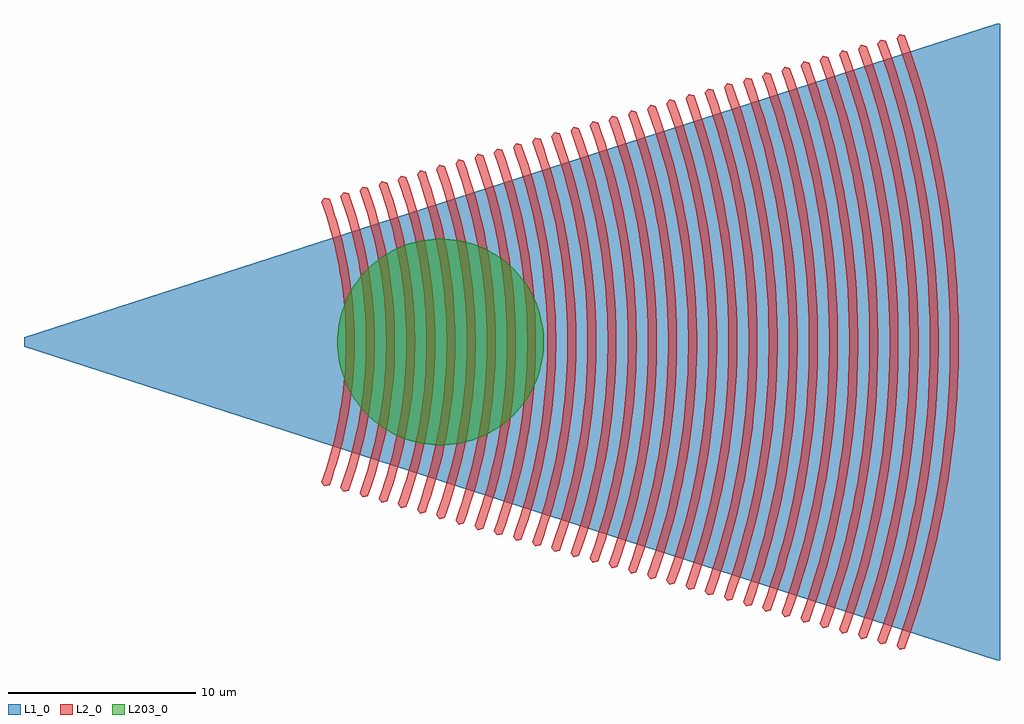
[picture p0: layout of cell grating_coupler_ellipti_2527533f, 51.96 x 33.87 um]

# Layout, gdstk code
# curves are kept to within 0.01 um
import gdstk
lib = gdstk.Library(unit=1e-6, precision=1e-09)
def P(c, l, *ps):  # polygons
    for p in ps: c.add(gdstk.Polygon(p, *l))
L1_0 = (1, 0)
L2_0 = (2, 0)
L203_0 = (203, 0)

circle_layer203_0_radius = lib.new_cell('circle_layer203_0_radius5p5')
P(circle_layer203_0_radius, L203_0, [(5.5,0),(5.495,0.24),(5.453,0.718),(5.37,1.19),(5.245,1.654),(5.081,2.105),(4.879,2.54),(4.639,2.955),(4.505,3.155),(4.213,3.535),(3.889,3.889),(3.535,4.213),(3.155,4.505),(2.955,4.639),(2.54,4.879),(2.105,5.081),(1.654,5.245),(1.19,5.37),(0.718,5.453),(0.24,5.495),(0,5.5),(-0.24,5.495),(-0.718,5.453),(-1.19,5.37),(-1.654,5.245),(-2.105,5.081),(-2.54,4.879),(-2.955,4.639),(-3.155,4.505),(-3.535,4.213),(-3.889,3.889),(-4.213,3.535),(-4.505,3.155),(-4.639,2.955),(-4.879,2.54),(-5.081,2.105),(-5.245,1.654),(-5.37,1.19),(-5.453,0.718),(-5.495,0.24),(-5.5,0),(-5.495,-0.24),(-5.453,-0.718),(-5.37,-1.19),(-5.245,-1.654),(-5.081,-2.105),(-4.879,-2.54),(-4.639,-2.955),(-4.505,-3.155),(-4.213,-3.535),(-3.889,-3.889),(-3.535,-4.213),(-3.155,-4.505),(-2.955,-4.639),(-2.54,-4.879),(-2.105,-5.081),(-1.654,-5.245),(-1.19,-5.37),(-0.718,-5.453),(-0.24,-5.495),(0,-5.5),(0.24,-5.495),(0.718,-5.453),(1.19,-5.37),(1.654,-5.245),(2.105,-5.081),(2.54,-4.879),(2.955,-4.639),(3.155,-4.505),(3.535,-4.213),(3.889,-3.889),(4.213,-3.535),(4.505,-3.155),(4.639,-2.955),(4.879,-2.54),(5.081,-2.105),(5.245,-1.654),(5.37,-1.19),(5.453,-0.718),(5.495,-0.24)])

grating_coupler_ellipti_ = lib.new_cell('grating_coupler_ellipti_2527533f')
P(grating_coupler_ellipti_, L1_0, [(10.5,-0.25),(10.5,0.25),(62.26,16.933),(62.46,16.933),(62.46,-16.933),(62.26,-16.933)])
P(grating_coupler_ellipti_, L2_0, [(26.495,-7.69),(26.325,-7.464),(26.695,-6.349),(27.005,-5.218),(27.254,-4.074),(27.385,-3.304),(27.489,-2.53),(27.566,-1.754),(27.614,-0.975),(27.635,-0.195),(27.628,0.585),(27.593,1.365),(27.531,2.142),(27.441,2.918),(27.254,4.074),(27.005,5.218),(26.695,6.349),(26.325,7.464),(26.495,7.69),(26.77,7.62),(27.028,6.867),(27.259,6.102),(27.463,5.331),(27.64,4.553),(27.852,3.375),(28.001,2.189),(28.086,0.996),(28.107,0.199),(28.086,-0.996),(28.001,-2.189),(27.852,-3.375),(27.64,-4.553),(27.463,-5.331),(27.259,-6.102),(27.028,-6.867),(26.77,-7.62)],
  [(27.517,-7.981),(27.346,-7.754),(27.61,-6.983),(27.952,-5.814),(28.232,-4.63),(28.447,-3.432),(28.555,-2.629),(28.635,-1.822),(28.685,-1.013),(28.707,-0.203),(28.7,0.608),(28.664,1.418),(28.599,2.226),(28.447,3.432),(28.232,4.63),(27.952,5.814),(27.61,6.983),(27.346,7.754),(27.517,7.981),(27.791,7.91),(28.059,7.128),(28.299,6.335),(28.511,5.534),(28.694,4.726),(28.914,3.504),(29.024,2.683),(29.135,1.447),(29.179,0.207),(29.157,-1.034),(29.068,-2.272),(28.914,-3.504),(28.694,-4.726),(28.511,-5.534),(28.299,-6.335),(28.059,-7.128),(27.791,-7.91)],
  [(28.538,-8.271),(28.367,-8.044),(28.641,-7.244),(28.996,-6.032),(29.286,-4.803),(29.51,-3.561),(29.622,-2.727),(29.704,-1.89),(29.757,-1.051),(29.779,-0.21),(29.772,0.631),(29.734,1.471),(29.667,2.309),(29.51,3.561),(29.286,4.803),(28.996,6.032),(28.641,7.244),(28.367,8.044),(28.538,8.271),(28.812,8.201),(29.09,7.389),(29.339,6.567),(29.558,5.736),(29.748,4.899),(29.908,4.056),(30.091,2.782),(30.205,1.5),(30.251,0.214),(30.228,-1.072),(30.136,-2.355),(29.976,-3.632),(29.748,-4.899),(29.558,-5.736),(29.339,-6.567),(29.09,-7.389),(28.812,-8.201)],
  [(29.559,-8.561),(29.388,-8.334),(29.802,-7.089),(30.04,-6.25),(30.34,-4.976),(30.572,-3.689),(30.688,-2.826),(30.773,-1.958),(30.828,-1.089),(30.851,-0.218),(30.843,0.653),(30.804,1.524),(30.735,2.392),(30.572,3.689),(30.34,4.976),(30.04,6.25),(29.802,7.089),(29.388,8.334),(29.559,8.561),(29.834,8.491),(30.121,7.65),(30.378,6.799),(30.606,5.939),(30.802,5.072),(31.038,3.761),(31.157,2.88),(31.276,1.553),(31.323,0.222),(31.299,-1.11),(31.204,-2.439),(31.038,-3.761),(30.802,-5.072),(30.606,-5.939),(30.378,-6.799),(30.121,-7.65),(29.834,-8.491)],
  [(30.58,-8.851),(30.409,-8.624),(30.837,-7.336),(31.195,-6.03),(31.482,-4.707),(31.634,-3.818),(31.754,-2.924),(31.843,-2.027),(31.899,-1.127),(31.923,-0.225),(31.899,1.127),(31.843,2.027),(31.754,2.924),(31.634,3.818),(31.482,4.707),(31.195,6.03),(30.837,7.336),(30.409,8.624),(30.58,8.851),(30.855,8.781),(31.152,7.912),(31.418,7.031),(31.653,6.142),(31.856,5.246),(32.101,3.889),(32.223,2.979),(32.346,1.606),(32.395,0.23),(32.37,-1.148),(32.272,-2.522),(32.101,-3.889),(31.856,-5.246),(31.653,-6.142),(31.418,-7.031),(31.152,-7.912),(30.855,-8.781)],
  [(31.601,-9.141),(31.43,-8.914),(31.873,-7.583),(32.127,-6.685),(32.448,-5.323),(32.696,-3.946),(32.821,-3.022),(32.912,-2.095),(32.97,-1.165),(32.995,-0.233),(32.987,0.699),(32.912,2.095),(32.821,3.022),(32.696,3.946),(32.448,5.323),(32.127,6.685),(31.873,7.583),(31.43,8.914),(31.601,9.141),(31.876,9.071),(32.183,8.173),(32.458,7.263),(32.701,6.345),(32.91,5.419),(33.163,4.017),(33.34,2.605),(33.442,1.186),(33.467,0.237),(33.442,-1.186),(33.34,-2.605),(33.163,-4.017),(33.003,-4.953),(32.81,-5.883),(32.583,-6.805),(32.324,-7.719),(32.033,-8.624),(31.876,-9.071)],
  [(32.622,-9.431),(32.451,-9.204),(32.908,-7.83),(33.171,-6.902),(33.502,-5.496),(33.759,-4.075),(33.887,-3.121),(33.981,-2.163),(34.041,-1.202),(34.067,-0.241),(34.041,1.202),(33.981,2.163),(33.887,3.121),(33.759,4.075),(33.502,5.496),(33.171,6.902),(32.908,7.83),(32.451,9.204),(32.622,9.431),(32.897,9.361),(33.059,8.9),(33.498,7.496),(33.748,6.548),(33.965,5.592),(34.147,4.629),(34.356,3.175),(34.487,1.712),(34.539,0.245),(34.513,-1.223),(34.408,-2.688),(34.225,-4.146),(33.965,-5.592),(33.748,-6.548),(33.498,-7.496),(33.059,-8.9),(32.897,-9.361)],
  [(33.643,-9.721),(33.473,-9.494),(33.943,-8.076),(34.337,-6.638),(34.557,-5.669),(34.821,-4.203),(34.953,-3.219),(35.05,-2.231),(35.112,-1.24),(35.139,-0.248),(35.13,0.744),(35.086,1.736),(34.953,3.219),(34.821,4.203),(34.557,5.669),(34.337,6.638),(33.943,8.076),(33.473,9.494),(33.643,9.721),(33.918,9.651),(34.085,9.176),(34.395,8.213),(34.671,7.24),(35.019,5.765),(35.287,4.274),(35.476,2.772),(35.557,1.765),(35.611,0.252),(35.602,-0.757),(35.521,-2.269),(35.359,-3.775),(35.117,-5.27),(34.796,-6.751),(34.537,-7.728),(34.244,-8.696),(33.918,-9.651)],
  [(34.664,-10.011),(34.494,-9.784),(34.979,-8.323),(35.385,-6.841),(35.711,-5.34),(35.883,-4.332),(36.019,-3.317),(36.12,-2.299),(36.183,-1.278),(36.211,-0.256),(36.202,0.767),(36.12,2.299),(36.019,3.317),(35.883,4.332),(35.711,5.34),(35.385,6.841),(34.979,8.323),(34.494,9.784),(34.664,10.011),(34.939,9.941),(35.111,9.451),(35.577,7.96),(35.843,6.954),(36.073,5.939),(36.35,4.403),(36.544,2.855),(36.655,1.299),(36.683,0.26),(36.655,-1.299),(36.544,-2.855),(36.35,-4.403),(36.174,-5.428),(35.843,-6.954),(35.577,-7.96),(35.275,-8.957),(34.939,-9.941)],
  [(35.685,-10.301),(35.515,-10.074),(35.857,-9.074),(36.302,-7.555),(36.665,-6.016),(36.945,-4.46),(37.086,-3.416),(37.189,-2.367),(37.255,-1.316),(37.283,-0.263),(37.255,1.316),(37.189,2.367),(37.086,3.416),(36.945,4.46),(36.665,6.016),(36.302,7.555),(35.857,9.074),(35.515,10.074),(35.685,10.301),(35.96,10.231),(36.137,9.727),(36.617,8.192),(36.89,7.156),(37.127,6.112),(37.412,4.531),(37.555,3.47),(37.698,1.872),(37.755,0.268),(37.726,-1.337),(37.698,-1.872),(37.612,-2.938),(37.412,-4.531),(37.231,-5.587),(37.013,-6.635),(36.758,-7.676),(36.306,-9.218),(35.96,-10.231)],
  [(36.706,-10.591),(36.536,-10.364),(37.05,-8.817),(37.346,-7.773),(37.719,-6.189),(38.008,-4.588),(38.152,-3.514),(38.258,-2.436),(38.326,-1.354),(38.355,-0.271),(38.345,0.813),(38.297,1.895),(38.21,2.975),(38.008,4.588),(37.719,6.189),(37.346,7.773),(37.05,8.817),(36.536,10.364),(36.706,10.591),(36.981,10.521),(37.163,10.003),(37.501,8.954),(37.802,7.893),(38.181,6.285),(38.289,5.745),(38.474,4.66),(38.68,3.022),(38.768,1.925),(38.827,0.275),(38.797,-1.375),(38.768,-1.925),(38.68,-3.022),(38.474,-4.66),(38.289,-5.745),(38.064,-6.823),(37.802,-7.893),(37.337,-9.48),(36.981,-10.521)],
  [(37.727,-10.881),(37.557,-10.655),(37.919,-9.596),(38.085,-9.064),(38.527,-7.45),(38.882,-5.816),(39.07,-4.717),(39.218,-3.613),(39.327,-2.504),(39.397,-1.392),(39.427,-0.278),(39.417,0.835),(39.367,1.948),(39.278,3.059),(39.07,4.717),(38.882,5.816),(38.527,7.45),(38.085,9.064),(37.919,9.596),(37.557,10.655),(37.727,10.881),(38.002,10.811),(38.189,10.279),(38.537,9.2),(38.846,8.111),(39.235,6.458),(39.346,5.903),(39.536,4.788),(39.617,4.228),(39.748,3.105),(39.869,1.413),(39.899,0.283),(39.899,-0.283),(39.869,-1.413),(39.748,-3.105),(39.617,-4.228),(39.346,-5.903),(39.115,-7.011),(38.846,-8.111),(38.368,-9.741),(38.002,-10.811)],
  [(38.748,-11.171),(38.578,-10.945),(38.95,-9.858),(39.121,-9.31),(39.433,-8.208),(39.828,-6.535),(40.041,-5.41),(40.132,-4.845),(40.285,-3.711),(40.397,-2.572),(40.468,-1.43),(40.499,-0.286),(40.489,0.858),(40.438,2.001),(40.397,2.572),(40.285,3.711),(40.132,4.845),(40.041,5.41),(39.828,6.535),(39.433,8.208),(39.282,8.76),(38.95,9.858),(38.578,10.945),(38.748,11.171),(39.023,11.101),(39.216,10.554),(39.399,10.002),(39.736,8.889),(40.033,7.765),(40.29,6.632),(40.403,6.062),(40.599,4.917),(40.754,3.765),(40.816,3.188),(40.909,2.031),(40.94,1.451),(40.971,0.29),(40.971,-0.29),(40.94,-1.451),(40.909,-2.031),(40.816,-3.188),(40.754,-3.765),(40.599,-4.917),(40.403,-6.062),(40.29,-6.632),(40.033,-7.765),(39.736,-8.889),(39.399,-10.002),(39.023,-11.101)],
  [(39.769,-11.461),(39.599,-11.235),(39.795,-10.677),(40.156,-9.557),(40.477,-8.425),(40.622,-7.855),(40.882,-6.709),(41.1,-5.554),(41.194,-4.974),(41.351,-3.809),(41.466,-2.64),(41.539,-1.468),(41.571,-0.294),(41.56,0.881),(41.508,2.054),(41.414,3.225),(41.278,4.392),(41.194,4.974),(41.1,5.554),(40.882,6.709),(40.757,7.283),(40.477,8.425),(40.156,9.557),(39.795,10.677),(39.599,11.235),(39.769,11.461),(40.044,11.391),(40.242,10.83),(40.43,10.264),(40.776,9.121),(41.08,7.968),(41.344,6.805),(41.566,5.633),(41.746,4.455),(41.82,3.864),(41.936,2.678),(41.979,2.084),(42.011,1.489),(42.043,0.298),(42.043,-0.298),(42.011,-1.489),(41.979,-2.084),(41.883,-3.271),(41.746,-4.455),(41.566,-5.633),(41.46,-6.22),(41.217,-7.387),(40.933,-8.546),(40.776,-9.121),(40.43,-10.264),(40.044,-11.391)],
  [(40.79,-11.752),(40.62,-11.525),(40.821,-10.953),(41.191,-9.804),(41.52,-8.643),(41.808,-7.471),(41.936,-6.882),(42.053,-6.291),(42.257,-5.102),(42.417,-3.908),(42.535,-2.708),(42.61,-1.506),(42.643,-0.301),(42.632,0.904),(42.578,2.107),(42.482,3.308),(42.417,3.908),(42.257,5.102),(42.053,6.291),(41.936,6.882),(41.808,7.471),(41.52,8.643),(41.191,9.804),(40.821,10.953),(40.62,11.525),(40.79,11.752),(41.065,11.681),(41.268,11.106),(41.643,9.941),(41.977,8.764),(42.128,8.171),(42.398,6.978),(42.517,6.378),(42.723,5.173),(42.886,3.962),(43.006,2.746),(43.049,2.137),(43.082,1.527),(43.115,0.305),(43.104,-0.916),(43.082,-1.527),(43.006,-2.746),(42.886,-3.962),(42.81,-4.569),(42.723,-5.173),(42.517,-6.378),(42.268,-7.576),(41.977,-8.764),(41.815,-9.354),(41.461,-10.525),(41.065,-11.681)],
  [(41.811,-12.042),(41.641,-11.815),(41.847,-11.229),(42.227,-10.051),(42.401,-9.457),(42.717,-8.261),(42.99,-7.055),(43.22,-5.841),(43.319,-5.231),(43.484,-4.006),(43.605,-2.776),(43.682,-1.544),(43.715,-0.309),(43.715,0.309),(43.682,1.544),(43.605,2.776),(43.484,4.006),(43.319,5.231),(43.22,5.841),(42.99,7.055),(42.717,8.261),(42.401,9.457),(42.227,10.051),(41.847,11.229),(41.641,11.815),(41.811,12.042),(42.086,11.972),(42.294,11.382),(42.679,10.188),(42.855,9.586),(43.175,8.374),(43.452,7.151),(43.574,6.537),(43.785,5.302),(43.952,4.061),(44.019,3.438),(44.12,2.19),(44.153,1.565),(44.187,0.313),(44.187,-0.313),(44.153,-1.565),(44.075,-2.814),(43.952,-4.061),(43.874,-4.682),(43.785,-5.302),(43.574,-6.537),(43.319,-7.764),(43.175,-8.374),(42.855,-9.586),(42.492,-10.786),(42.086,-11.972)],
  [(42.833,-12.332),(42.662,-12.105),(43.073,-10.903),(43.262,-10.298),(43.608,-9.078),(43.91,-7.847),(44.168,-6.607),(44.28,-5.984),(44.381,-5.359),(44.55,-4.104),(44.674,-2.845),(44.753,-1.582),(44.787,-0.316),(44.787,0.316),(44.753,1.582),(44.674,2.845),(44.55,4.104),(44.381,5.359),(44.168,6.607),(44.044,7.228),(43.91,7.847),(43.608,9.078),(43.262,10.298),(43.073,10.903),(42.662,12.105),(42.833,12.332),(43.107,12.262),(43.32,11.657),(43.714,10.434),(43.895,9.818),(44.223,8.577),(44.506,7.325),(44.745,6.064),(44.848,5.43),(45.019,4.159),(45.144,2.883),(45.19,2.243),(45.224,1.603),(45.259,0.321),(45.259,-0.321),(45.224,-1.603),(45.19,-2.243),(45.087,-3.521),(45.019,-4.159),(44.848,-5.43),(44.631,-6.695),(44.506,-7.325),(44.223,-8.577),(43.895,-9.818),(43.522,-11.048),(43.107,-12.262)],
  [(43.854,-12.622),(43.683,-12.395),(44.104,-11.164),(44.298,-10.544),(44.652,-9.296),(44.961,-8.036),(45.225,-6.766),(45.34,-6.128),(45.443,-5.488),(45.616,-4.203),(45.743,-2.913),(45.824,-1.619),(45.859,-0.324),(45.859,0.324),(45.824,1.619),(45.743,2.913),(45.616,4.203),(45.443,5.488),(45.34,6.128),(45.098,7.402),(44.961,8.036),(44.652,9.296),(44.298,10.544),(44.104,11.164),(43.683,12.395),(43.854,12.622),(44.128,12.552),(44.346,11.933),(44.749,10.681),(45.108,9.416),(45.421,8.14),(45.561,7.498),(45.805,6.207),(45.91,5.559),(46.085,4.257),(46.214,2.951),(46.26,2.296),(46.319,0.984),(46.331,0.328),(46.319,-0.984),(46.26,-2.296),(46.214,-2.951),(46.085,-4.257),(46.003,-4.909),(45.91,-5.559),(45.688,-6.854),(45.421,-8.14),(45.108,-9.416),(44.934,-10.05),(44.553,-11.309),(44.128,-12.552)],
  [(44.875,-12.912),(44.704,-12.685),(45.135,-11.425),(45.52,-10.154),(45.695,-9.513),(46.012,-8.224),(46.153,-7.575),(46.4,-6.271),(46.6,-4.959),(46.753,-3.642),(46.86,-2.32),(46.919,-0.995),(46.931,-0.332),(46.919,0.995),(46.86,2.32),(46.753,3.642),(46.6,4.959),(46.506,5.616),(46.4,6.271),(46.153,7.575),(45.859,8.87),(45.52,10.154),(45.333,10.791),(44.926,12.056),(44.704,12.685),(44.875,12.912),(45.15,12.842),(45.372,12.209),(45.785,10.928),(46.152,9.634),(46.318,8.982),(46.615,7.671),(46.865,6.351),(46.972,5.687),(47.068,5.022),(47.223,3.688),(47.331,2.349),(47.367,1.678),(47.403,0.336),(47.391,-1.007),(47.331,-2.349),(47.283,-3.019),(47.223,-3.688),(47.068,-5.022),(46.865,-6.351),(46.746,-7.012),(46.472,-8.328),(46.152,-9.634),(45.785,-10.928),(45.584,-11.57),(45.15,-12.842)],
  [(45.896,-13.202),(45.725,-12.975),(45.952,-12.332),(46.369,-11.038),(46.739,-9.731),(47.063,-8.412),(47.207,-7.748),(47.459,-6.414),(47.568,-5.744),(47.749,-4.4),(47.882,-3.049),(47.966,-1.695),(48.002,-0.339),(48.002,0.339),(47.966,1.695),(47.882,3.049),(47.749,4.4),(47.568,5.744),(47.339,7.082),(47.207,7.748),(46.907,9.073),(46.56,10.386),(46.369,11.038),(45.952,12.332),(45.725,12.975),(45.896,13.202),(46.171,13.132),(46.615,11.831),(47.014,10.515),(47.195,9.851),(47.365,9.185),(47.669,7.844),(47.925,6.494),(48.132,5.136),(48.218,4.454),(48.291,3.771),(48.401,2.402),(48.438,1.716),(48.474,0.343),(48.462,-1.03),(48.438,-1.716),(48.401,-2.402),(48.291,-3.771),(48.132,-5.136),(47.925,-6.494),(47.803,-7.17),(47.523,-8.516),(47.365,-9.185),(47.014,-10.515),(46.615,-11.831),(46.171,-13.132)],
  [(46.917,-13.492),(46.746,-13.265),(47.197,-11.948),(47.404,-11.285),(47.783,-9.948),(48.114,-8.6),(48.396,-7.241),(48.519,-6.558),(48.729,-5.186),(48.815,-4.498),(48.951,-3.117),(49.037,-1.733),(49.074,-0.347),(49.062,1.04),(49,2.426),(48.951,3.117),(48.815,4.498),(48.63,5.873),(48.396,7.241),(48.261,7.921),(48.114,8.6),(47.783,9.948),(47.404,11.285),(47.197,11.948),(46.746,13.265),(46.917,13.492),(47.192,13.422),(47.646,12.093),(47.856,11.422),(48.239,10.069),(48.413,9.388),(48.723,8.018),(48.86,7.329),(49.097,5.944),(49.284,4.552),(49.359,3.854),(49.421,3.155),(49.509,1.754),(49.546,0.351),(49.534,-1.053),(49.509,-1.754),(49.471,-2.455),(49.359,-3.854),(49.284,-4.552),(49.097,-5.944),(48.86,-7.329),(48.723,-8.018),(48.413,-9.388),(48.053,-10.747),(47.646,-12.093),(47.192,-13.422)],
  [(47.938,-13.782),(47.767,-13.555),(48.228,-12.209),(48.639,-10.85),(48.826,-10.166),(49.165,-8.788),(49.315,-8.095),(49.579,-6.701),(49.793,-5.3),(49.957,-3.892),(50.071,-2.479),(50.109,-1.771),(50.146,-0.354),(50.134,1.063),(50.071,2.479),(49.957,3.892),(49.793,5.3),(49.692,6.001),(49.579,6.701),(49.315,8.095),(49.002,9.478),(48.639,10.85),(48.439,11.532),(48.228,12.209),(47.767,13.555),(47.938,13.782),(48.213,13.712),(48.677,12.354),(48.891,11.668),(49.283,10.287),(49.625,8.892),(49.777,8.191),(49.917,7.487),(50.159,6.073),(50.261,5.363),(50.427,3.938),(50.542,2.508),(50.606,1.075),(50.618,0.359),(50.606,-1.075),(50.542,-2.508),(50.491,-3.223),(50.427,-3.938),(50.261,-5.363),(50.159,-6.073),(49.917,-7.487),(49.625,-8.892),(49.283,-10.287),(49.093,-10.979),(48.677,-12.354),(48.213,-13.712)],
  [(48.959,-14.072),(48.789,-13.845),(49.259,-12.471),(49.679,-11.083),(49.87,-10.384),(50.049,-9.681),(50.369,-8.268),(50.639,-6.845),(50.857,-5.413),(51.025,-3.975),(51.141,-2.532),(51.18,-1.809),(51.218,-0.362),(51.205,1.086),(51.141,2.532),(51.025,3.975),(50.948,4.695),(50.755,6.13),(50.639,6.845),(50.369,8.268),(50.049,9.681),(49.87,10.384),(49.679,11.083),(49.259,12.471),(48.789,13.845),(48.959,14.072),(49.234,14.002),(49.708,12.615),(49.927,11.915),(50.327,10.504),(50.508,9.794),(50.831,8.364),(50.974,7.645),(51.221,6.201),(51.325,5.476),(51.495,4.021),(51.612,2.561),(51.651,1.83),(51.69,0.366),(51.69,-0.366),(51.651,-1.83),(51.56,-3.292),(51.495,-4.021),(51.325,-5.476),(51.221,-6.201),(50.974,-7.645),(50.676,-9.08),(50.508,-9.794),(50.133,-11.211),(49.708,-12.615),(49.234,-14.002)],
  [(49.98,-14.362),(49.81,-14.135),(50.056,-13.435),(50.51,-12.025),(50.914,-10.601),(51.266,-9.164),(51.568,-7.716),(51.699,-6.988),(51.817,-6.258),(52.014,-4.793),(52.159,-3.322),(52.251,-1.847),(52.29,-0.369),(52.277,1.108),(52.251,1.847),(52.159,3.322),(52.014,4.793),(51.817,6.258),(51.568,7.716),(51.266,9.164),(51.097,9.884),(50.914,10.601),(50.51,12.025),(50.056,13.435),(49.81,14.135),(49.98,14.362),(50.255,14.292),(50.739,12.877),(51.173,11.444),(51.37,10.722),(51.555,9.997),(51.886,8.537),(52.164,7.068),(52.283,6.33),(52.39,5.589),(52.563,4.104),(52.629,3.36),(52.722,1.868),(52.762,0.374),(52.749,-1.121),(52.722,-1.868),(52.629,-3.36),(52.563,-4.104),(52.39,-5.589),(52.164,-7.068),(52.031,-7.804),(51.886,-8.537),(51.555,-9.997),(51.173,-11.444),(50.739,-12.877),(50.255,-14.292)],
  [(51.001,-14.652),(50.831,-14.426),(51.082,-13.711),(51.546,-12.272),(51.958,-10.819),(52.144,-10.087),(52.478,-8.614),(52.758,-7.132),(52.986,-5.64),(53.161,-4.141),(53.282,-2.638),(53.349,-1.131),(53.362,-0.377),(53.349,1.131),(53.282,2.638),(53.161,4.141),(52.986,5.64),(52.879,6.387),(52.625,7.874),(52.478,8.614),(52.144,10.087),(51.958,10.819),(51.546,12.272),(51.082,13.711),(50.831,14.426),(51.001,14.652),(51.276,14.582),(51.77,13.138),(52.212,11.676),(52.414,10.939),(52.778,9.456),(52.94,8.711),(53.224,7.211),(53.346,6.458),(53.549,4.946),(53.63,4.188),(53.753,2.667),(53.794,1.906),(53.834,0.381),(53.821,-1.144),(53.794,-1.906),(53.698,-3.428),(53.549,-4.946),(53.454,-5.703),(53.346,-6.458),(53.088,-7.962),(52.778,-9.456),(52.414,-10.939),(52.212,-11.676),(51.77,-13.138),(51.276,-14.582)],
  [(52.022,-14.942),(51.852,-14.716),(52.351,-13.255),(52.581,-12.519),(53.001,-11.036),(53.191,-10.29),(53.532,-8.788),(53.818,-7.275),(54.051,-5.753),(54.229,-4.225),(54.352,-2.691),(54.421,-1.154),(54.434,-0.385),(54.421,1.154),(54.352,2.691),(54.229,4.225),(54.051,5.753),(53.941,6.515),(53.682,8.033),(53.532,8.788),(53.191,10.29),(53.001,11.036),(52.581,12.519),(52.351,13.255),(51.852,14.716),(52.022,14.942),(52.297,14.872),(52.801,13.399),(53.033,12.656),(53.458,11.157),(53.65,10.402),(53.829,9.645),(54.146,8.12),(54.408,6.586),(54.615,5.044),(54.698,4.271),(54.768,3.496),(54.865,1.944),(54.906,0.389),(54.906,-0.389),(54.865,-1.944),(54.768,-3.496),(54.615,-5.044),(54.518,-5.816),(54.284,-7.355),(54.146,-8.12),(53.829,-9.645),(53.65,-10.402),(53.458,-11.157),(53.033,-12.656),(52.801,-13.399),(52.297,-14.872)],
  [(53.043,-15.232),(52.873,-15.006),(53.382,-13.516),(53.617,-12.766),(54.045,-11.254),(54.239,-10.493),(54.586,-8.961),(54.878,-7.418),(55.115,-5.867),(55.297,-4.308),(55.422,-2.744),(55.464,-1.961),(55.506,-0.392),(55.492,1.177),(55.422,2.744),(55.297,4.308),(55.115,5.867),(55.003,6.644),(54.739,8.191),(54.586,8.961),(54.239,10.493),(53.838,12.012),(53.617,12.766),(53.382,13.516),(52.873,15.006),(53.043,15.232),(53.318,15.162),(53.581,14.415),(54.068,12.902),(54.292,12.14),(54.697,10.605),(54.88,9.833),(55.203,8.279),(55.47,6.715),(55.583,5.93),(55.766,4.354),(55.837,3.564),(55.936,1.982),(55.978,0.396),(55.964,-1.189),(55.936,-1.982),(55.837,-3.564),(55.682,-5.143),(55.583,-5.93),(55.47,-6.715),(55.203,-8.279),(54.88,-9.833),(54.697,-10.605),(54.292,-12.14),(54.068,-12.902),(53.581,-14.415),(53.318,-15.162)],
  [(54.064,-15.523),(53.894,-15.296),(54.161,-14.538),(54.652,-13.013),(55.089,-11.471),(55.47,-9.916),(55.64,-9.134),(55.938,-7.562),(56.066,-6.772),(56.279,-5.187),(56.436,-3.595),(56.535,-1.998),(56.578,-0.4),(56.564,1.199),(56.493,2.797),(56.436,3.595),(56.279,5.187),(56.066,6.772),(55.938,7.562),(55.64,9.134),(55.47,9.916),(55.089,11.471),(54.652,13.013),(54.161,14.538),(53.894,15.296),(54.064,15.523),(54.339,15.452),(54.607,14.69),(55.104,13.149),(55.545,11.592),(55.745,10.808),(55.931,10.021),(56.26,8.437),(56.403,7.641),(56.647,6.043),(56.834,4.437),(56.964,2.826),(57.036,1.212),(57.05,0.404),(57.036,-1.212),(56.964,-2.826),(56.906,-3.633),(56.748,-5.241),(56.647,-6.043),(56.532,-6.843),(56.26,-8.437),(55.931,-10.021),(55.745,-10.808),(55.545,-11.592),(55.104,-13.149),(54.607,-14.69),(54.339,-15.452)],
  [(55.085,-15.813),(54.915,-15.586),(55.444,-14.039),(55.917,-12.476),(56.132,-11.689),(56.521,-10.105),(56.694,-9.308),(56.998,-7.705),(57.244,-6.094),(57.432,-4.475),(57.505,-3.663),(57.607,-2.036),(57.65,-0.407),(57.636,1.222),(57.607,2.036),(57.505,3.663),(57.345,5.285),(57.128,6.9),(56.853,8.508),(56.521,10.105),(56.334,10.898),(55.917,12.476),(55.687,13.259),(55.444,14.039),(54.915,15.586),(55.085,15.813),(55.36,15.743),(55.893,14.183),(56.139,13.396),(56.589,11.81),(56.792,11.011),(56.982,10.209),(57.317,8.596),(57.595,6.972),(57.712,6.157),(57.902,4.521),(58.034,2.879),(58.078,2.057),(58.122,0.412),(58.122,-0.412),(58.078,-2.057),(58.034,-2.879),(57.902,-4.521),(57.712,-6.157),(57.595,-6.972),(57.317,-8.596),(56.982,-10.209),(56.792,-11.011),(56.589,-11.81),(56.139,-13.396),(55.893,-14.183),(55.36,-15.743)],
  [(56.106,-16.103),(55.936,-15.876),(56.475,-14.3),(56.957,-12.708),(57.176,-11.907),(57.572,-10.293),(57.748,-9.481),(58.058,-7.849),(58.19,-7.029),(58.412,-5.383),(58.574,-3.731),(58.678,-2.074),(58.722,-0.415),(58.722,0.415),(58.678,2.074),(58.574,3.731),(58.412,5.383),(58.19,7.029),(58.058,7.849),(57.748,9.481),(57.572,10.293),(57.176,11.907),(56.957,12.708),(56.475,14.3),(55.936,15.876),(56.106,16.103),(56.381,16.033),(56.924,14.445),(57.175,13.643),(57.633,12.027),(57.84,11.214),(58.211,9.577),(58.374,8.754),(58.657,7.1),(58.776,6.27),(58.97,4.604),(59.045,3.769),(59.149,2.095),(59.194,0.419),(59.179,-1.257),(59.149,-2.095),(59.045,-3.769),(58.97,-4.604),(58.776,-6.27),(58.657,-7.1),(58.374,-8.754),(58.211,-9.577),(57.84,-11.214),(57.633,-12.027),(57.175,-13.643),(56.924,-14.445),(56.381,-16.033)],
  [(57.127,-16.393),(56.957,-16.166),(57.506,-14.561),(57.996,-12.941),(58.22,-12.124),(58.429,-11.304),(58.803,-9.654),(59.117,-7.992),(59.373,-6.32),(59.568,-4.641),(59.704,-2.956),(59.779,-1.268),(59.794,-0.423),(59.779,1.268),(59.704,2.956),(59.568,4.641),(59.478,5.482),(59.252,7.157),(59.117,7.992),(58.803,9.654),(58.429,11.304),(58.22,12.124),(57.758,13.753),(57.506,14.561),(56.957,16.166),(57.127,16.393),(57.402,16.323),(57.686,15.518),(58.21,13.89),(58.676,12.245),(58.887,11.417),(59.265,9.75),(59.431,8.912),(59.719,7.229),(59.947,5.536),(60.038,4.687),(60.175,2.986),(60.251,1.28),(60.266,0.427),(60.251,-1.28),(60.175,-2.986),(60.114,-3.837),(59.947,-5.536),(59.84,-6.383),(59.583,-8.072),(59.431,-8.912),(59.265,-9.75),(58.887,-11.417),(58.676,-12.245),(58.21,-13.89),(57.686,-15.518),(57.402,-16.323)])
grating_coupler_ellipti_.add(gdstk.Reference(circle_layer203_0_radius, (32.68,0)))

lib.write_gds('grating_coupler_ellipti_2527533f.gds')
